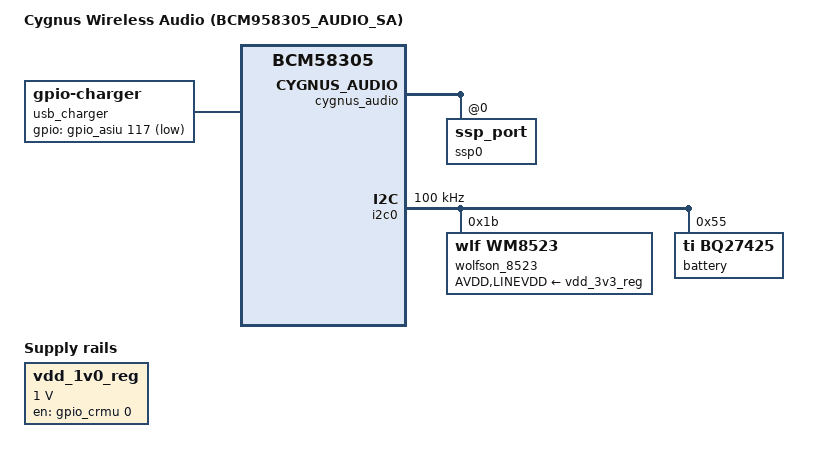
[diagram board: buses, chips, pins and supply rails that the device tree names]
/*
 *  BSD LICENSE
 *
 *  Copyright(c) 2017 Broadcom.  All rights reserved.
 *
 *  Redistribution and use in source and binary forms, with or without
 *  modification, are permitted provided that the following conditions
 *  are met:
 *
 *    * Redistributions of source code must retain the above copyright
 *      notice, this list of conditions and the following disclaimer.
 *    * Redistributions in binary form must reproduce the above copyright
 *      notice, this list of conditions and the following disclaimer in
 *      the documentation and/or other materials provided with the
 *      distribution.
 *    * Neither the name of Broadcom Corporation nor the names of its
 *      contributors may be used to endorse or promote products derived
 *      from this software without specific prior written permission.
 *
 *  THIS SOFTWARE IS PROVIDED BY THE COPYRIGHT HOLDERS AND CONTRIBUTORS
 *  "AS IS" AND ANY EXPRESS OR IMPLIED WARRANTIES, INCLUDING, BUT NOT
 *  LIMITED TO, THE IMPLIED WARRANTIES OF MERCHANTABILITY AND FITNESS FOR
 *  A PARTICULAR PURPOSE ARE DISCLAIMED. IN NO EVENT SHALL THE COPYRIGHT
 *  OWNER OR CONTRIBUTORS BE LIABLE FOR ANY DIRECT, INDIRECT, INCIDENTAL,
 *  SPECIAL, EXEMPLARY, OR CONSEQUENTIAL DAMAGES (INCLUDING, BUT NOT
 *  LIMITED TO, PROCUREMENT OF SUBSTITUTE GOODS OR SERVICES; LOSS OF USE,
 *  DATA, OR PROFITS; OR BUSINESS INTERRUPTION) HOWEVER CAUSED AND ON ANY
 *  THEORY OF LIABILITY, WHETHER IN CONTRACT, STRICT LIABILITY, OR TORT
 *  (INCLUDING NEGLIGENCE OR OTHERWISE) ARISING IN ANY WAY OUT OF THE USE
 * OF THIS SOFTWARE, EVEN IF ADVISED OF THE POSSIBILITY OF SUCH DAMAGE.
 */

/dts-v1/;

#include "bcm958305_audio_sa.dtsi"

/ {
	model = "Cygnus Wireless Audio (BCM958305_AUDIO_SA)";
	compatible = "brcm,bcm58305", "brcm,cygnus";

	usb_charger: charger {
		compatible = "gpio-charger";
		charger-type = "usb-sdp";
		gpios = <&gpio_asiu 117 1>;
	};

	vdd_1v0_reg: regulator@3 {
		compatible = "regulator-fixed";
		regulator-name = "vdd-1v0-reg";
		regulator-min-microvolt = <1000000>;
		regulator-max-microvolt = <1000000>;
		gpio = <&gpio_crmu 0 0>;
		enable-active-high;
		regulator-always-on;
	};
};

&cygnus_audio {
	ssp0: ssp_port@0 {
		status = "okay";
	};
};

&dte {
	brcm,dte-interval-ns = <10000000>;
};

&i2c0 {
	clock-frequency = <100000>;
	status = "okay";

	wolfson_8523: wm8523@1b {
		compatible = "wlf,wm8523";
		reg = <0x1b>;
		AVDD-supply = <&vdd_3v3_reg>;
		LINEVDD-supply = <&vdd_3v3_reg>;
	};

	battery: bq27425@55 {
		compatible = "ti,bq27425";
		reg = <0x55>;
		power-supplies = <&usb_charger>;
	};
};

&pinctrl {
	pinctrl-names = "default";
	pinctrl-0 = <&i2s0_default_mux &i2s1_default_mux
		&i2s2_default_mux &dte_lts_0>;
};

&vdd_3v3_reg {
	gpio = <&gpio_crmu 0 0>;
	enable-active-high;
};

&vdd_1v8_reg {
	gpio = <&gpio_crmu 0 0>;
	enable-active-high;
};

